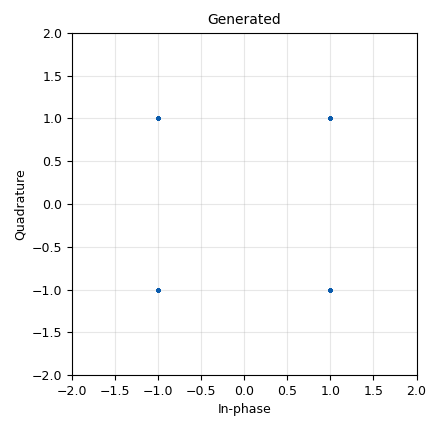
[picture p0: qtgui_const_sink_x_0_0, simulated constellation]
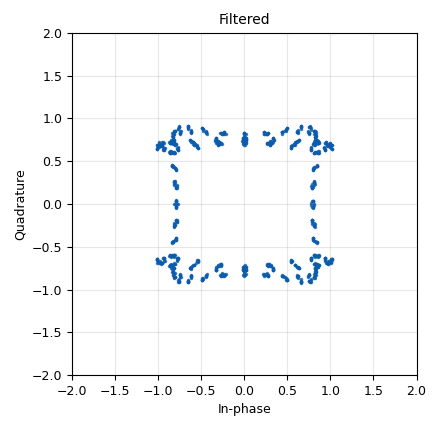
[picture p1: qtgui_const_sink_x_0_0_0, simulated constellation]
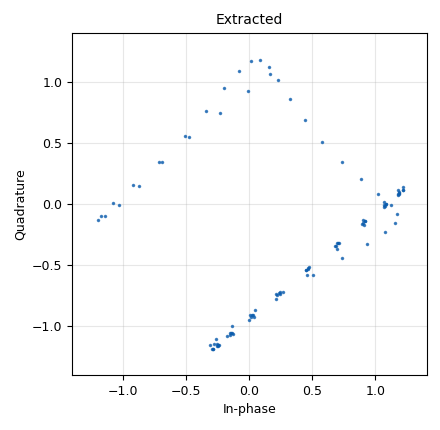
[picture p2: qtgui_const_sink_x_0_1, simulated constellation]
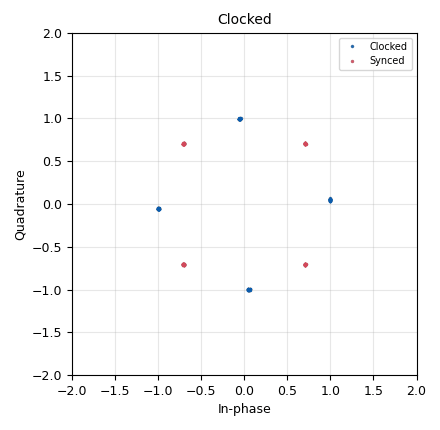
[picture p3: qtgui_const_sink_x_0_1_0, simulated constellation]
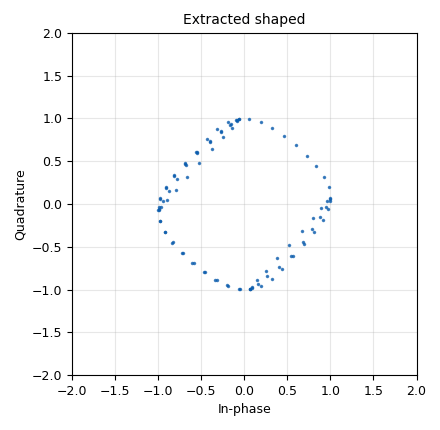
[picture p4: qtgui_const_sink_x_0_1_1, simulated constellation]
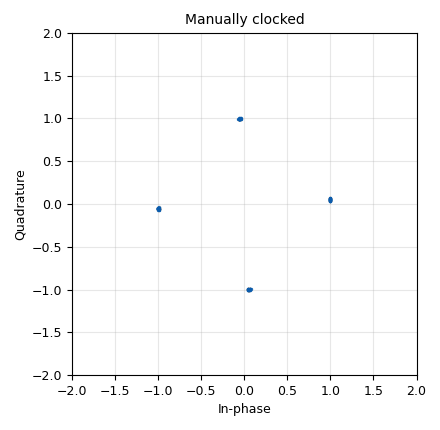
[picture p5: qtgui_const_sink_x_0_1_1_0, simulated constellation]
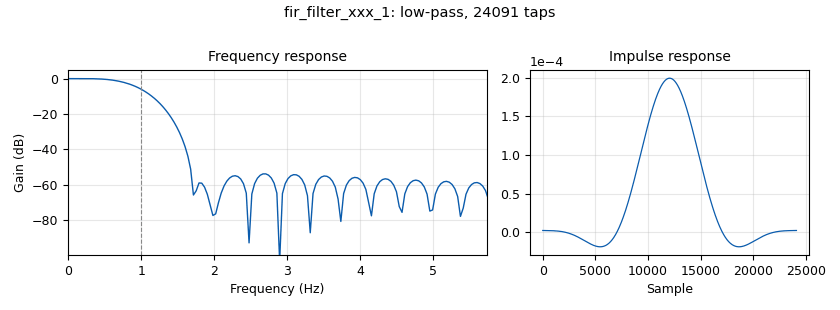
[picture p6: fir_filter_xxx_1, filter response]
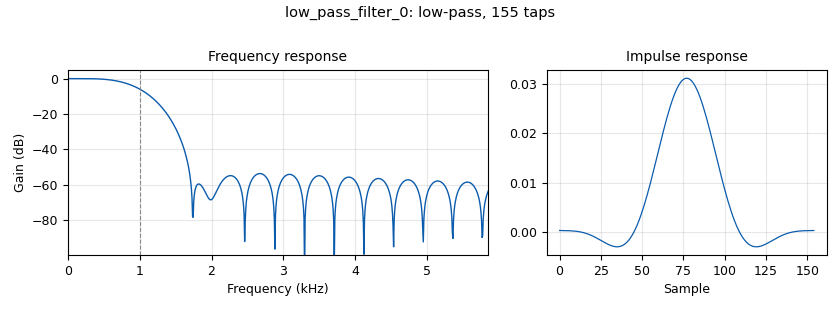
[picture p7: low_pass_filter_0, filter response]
options:
  parameters:
    author: Thomas
    generate_options: qt_gui
    id: ofdm_example
    output_language: python
    title: OFDM test
  states: {}

blocks:
- name: bucket
  id: variable
  parameters:
    value: '5'
  states: {}
- name: buckets
  id: variable
  parameters:
    value: '64'
  states: {}
- name: freq_ofs
  id: variable_qtgui_range
  parameters:
    gui_hint: 0,0
    start: '-500'
    step: '0.1'
    stop: '10000'
    value: '0'
  states: {}
- name: noise
  id: variable_qtgui_entry
  parameters:
    gui_hint: tabs@0
    type: real
    value: '0'
  states: {}
- name: other_mag
  id: variable_qtgui_range
  parameters:
    gui_hint: tabs@0
    start: '0'
    step: '0.01'
    stop: '1'
    value: '0'
  states: {}
- name: prode_freq_ofs
  id: variable_function_probe
  parameters:
    block_id: probe_freq_probe
    function_name: level
    poll_rate: '10'
    value: '0'
  states: {}
- name: rrc_beta
  id: variable_qtgui_range
  parameters:
    gui_hint: tabs@3
    start: '0.01'
    step: '0.01'
    stop: '1'
    value: '0.65'
  states: {}
- name: rrc_taps
  id: variable
  parameters:
    value: '131'
  states: {}
- name: samp_rate
  id: variable
  parameters:
    value: '1000'
  states: {}
- name: sps
  id: variable
  parameters:
    value: '10'
  states: {}
- name: sps_delay
  id: variable_qtgui_range
  parameters:
    gui_hint: tabs@2
    rangeType: int
    start: '0'
    step: '1'
    stop: sps
    value: '9'
  states: {}
- name: sym_power
  id: variable_qtgui_entry
  parameters:
    gui_hint: tabs@0
    type: real
    value: '1'
  states: {}
- name: ted_gain
  id: variable_qtgui_range
  parameters:
    gui_hint: tabs@3
    start: '0'
    step: '0.01'
    stop: '1'
    value: '1'
  states: {}
- name: winwin
  id: variable
  parameters:
    value: window.rectangular(buckets)
  states: {}
- name: winwin_0
  id: variable
  parameters:
    value: '[(1.0/buckets)**0.5]*buckets'
  states: {}
- name: winwin_blackmanharris
  id: variable
  parameters:
    value: window.blackmanharris(buckets)
  states: {}
- name: analog_pll_freqdet_cf_0
  id: analog_pll_freqdet_cf
  parameters:
    max_freq: '0.2'
    min_freq: '-0.2'
    w: 2*3.14/15000
  states: {}
- name: analog_pll_freqdet_cf_0_0
  id: analog_pll_freqdet_cf
  parameters:
    max_freq: '3'
    min_freq: '-3'
    w: 2*3.14/15000
  states: {state: disabled}
- name: analog_quadrature_demod_cf_0
  id: analog_quadrature_demod_cf
  parameters:
    gain: '1'
  states: {}
- name: analog_quadrature_demod_cf_1
  id: analog_quadrature_demod_cf
  parameters:
    gain: (samp_rate*buckets)/(2*math.pi)
  states: {}
- name: analog_random_source_x_0
  id: analog_random_source_x
  parameters:
    max: '2'
    min: '0'
    num_samps: '1000'
    repeat: 'True'
    type: byte
  states: {}
- name: analog_sig_source_x_0
  id: analog_sig_source_x
  parameters:
    amp: '1'
    freq: '-prode_freq_ofs'
    offset: '0'
    phase: '0'
    samp_rate: samp_rate*sps*buckets
    type: complex
    waveform: analog.GR_COS_WAVE
  states: {}
- name: blocks_complex_to_mag_0
  id: blocks_complex_to_mag
  parameters:
    vlen: '64'
  states: {state: disabled}
- name: blocks_complex_to_magphase_0
  id: blocks_complex_to_magphase
  parameters: {}
  states: {state: disabled}
- name: blocks_delay_0
  id: blocks_delay
  parameters:
    delay: sps_delay
    type: complex
  states: {}
- name: blocks_keep_one_in_n_0
  id: blocks_keep_one_in_n
  parameters:
    n: sps
    type: complex
  states: {}
- name: blocks_keep_one_in_n_1
  id: blocks_keep_one_in_n
  parameters:
    n: '100'
    type: complex
  states: {state: disabled}
- name: blocks_keep_one_in_n_2
  id: blocks_keep_one_in_n
  parameters:
    n: '100'
    type: float
  states: {}
- name: blocks_keep_one_in_n_2_1
  id: blocks_keep_one_in_n
  parameters:
    n: '100'
    type: float
  states: {}
- name: blocks_moving_average_xx_0
  id: blocks_moving_average_xx
  parameters:
    length: '1000'
    max_iter: '4000'
    scale: 1/1000*1/(2*math.pi)*samp_rate*sps
    type: float
  states: {}
- name: blocks_multiply_const_vxx_0
  id: blocks_multiply_const_vxx
  parameters:
    const: sym_power*0.7071067811865476
    type: complex
  states: {}
- name: blocks_multiply_const_vxx_1
  id: blocks_multiply_const_vxx
  parameters:
    const: buckets*[1.0/buckets]
    type: complex
    vlen: buckets
  states: {}
- name: blocks_multiply_const_vxx_2
  id: blocks_multiply_const_vxx
  parameters:
    const: 1/(2*math.pi)*samp_rate*sps
    type: float
  states: {}
- name: blocks_multiply_const_vxx_2_0
  id: blocks_multiply_const_vxx
  parameters:
    const: 1/(2*3.141592)*samp_rate
    type: float
  states: {state: disabled}
- name: blocks_multiply_xx_0
  id: blocks_multiply_xx
  parameters:
    type: float
  states: {state: disabled}
- name: blocks_multiply_xx_1
  id: blocks_multiply_xx
  parameters:
    type: complex
  states: {}
- name: blocks_null_sink_0
  id: blocks_null_sink
  parameters:
    type: float
  states: {state: disabled}
- name: blocks_stream_to_vector_0
  id: blocks_stream_to_vector
  parameters:
    num_items: buckets
    type: complex
  states: {}
- name: blocks_throttle2_0
  id: blocks_throttle2
  parameters:
    samples_per_second: samp_rate*10
    type: byte
  states: {}
- name: blocks_vector_to_stream_1
  id: blocks_vector_to_stream
  parameters:
    num_items: buckets
    type: complex
  states: {}
- name: channels_channel_model_0
  id: channels_channel_model
  parameters:
    epsilon: '1.0'
    freq_offset: float(freq_ofs)/(samp_rate*sps*buckets)
    noise_voltage: noise
    seed: '0'
    taps: '1.0'
  states: {}
- name: digital_chunks_to_symbols_xx_0
  id: digital_chunks_to_symbols_xx
  parameters:
    dimension: '2'
    in_type: byte
    out_type: complex
    symbol_table: '[1+1j,-1+1j,-1+-1j,1-1j]'
  states: {}
- name: digital_costas_loop_cc_0
  id: digital_costas_loop_cc
  parameters:
    comment: |-
      The bandwidth here is small because most of the tuning
      is already done by the pilot signal tune.

      Ideally we would have the main tuner signal "locked" so that
      the costas loop can reset its state.
    order: '4'
    w: 2*math.pi/200
  states: {}
- name: digital_symbol_sync_xx_0
  id: digital_symbol_sync_xx
  parameters:
    constellation: digital.constellation_qpsk().base()
    damping: '1.0'
    loop_bw: '0.06283'
    max_dev: '0.5'
    osps: '1'
    resamp_type: digital.IR_MMSE_8TAP
    sps: sps
    ted_gain: ted_gain
    ted_type: digital.TED_GARDNER
    type: cc
  states: {}
- name: digital_symbol_sync_xx_0_0
  id: digital_symbol_sync_xx
  parameters:
    damping: '1.0'
    loop_bw: '0.06283'
    max_dev: '0.5'
    osps: '1'
    resamp_type: digital.IR_MMSE_8TAP
    sps: sps
    ted_gain: '1.0'
    ted_type: digital.TED_ZERO_CROSSING
    type: cc
  states: {state: disabled}
- name: epy_block_0
  id: epy_block
  parameters:
    M: bucket
    N: buckets
    _source_code: |
      """
      Embedded Python Blocks:

      Each time this file is saved, GRC will instantiate the first class it finds
      to get ports and parameters of your block. The arguments to __init__  will
      be the parameters. All of them are required to have default values!
      """
      import numpy as np
      import random
      from gnuradio import gr


      class blk(gr.sync_block):
          """Place each complex input sample at index M of an N-element vector."""

          def __init__(self, N=64, M=0, mag = 0.5):
              if N <= 0:
                  raise ValueError("N must be positive")
              if not 0 <= M < N:
                  raise ValueError("M must satisfy 0 <= M < N")

              self.N = int(N)
              self.M = int(M)
              self.mag = mag

              gr.sync_block.__init__(
                  self,
                  name="Complex to sparse vector",
                  in_sig=[np.complex64],
                  out_sig=[(np.complex64, self.N)],
              )

          def work(self, input_items, output_items):
              src = input_items[0]
              dst = output_items[0]

              n = len(src)
              center = self.N // 2
              dst.fill(0)
              dst[:, center] = 1.0 + 0.0j
              for i in range(self.N):
                  if abs(i - center) >= 5:
                      #dst[:, i] = self.mag*(random.random() + random.random() * 1.0j)
                      dst[:, i] = self.mag * ( np.random.random(n) + 1.0j * np.random.random(n))
              dst[:, self.M] = src

              return n
    mag: other_mag
  states: {}
- name: epy_block_0_0
  id: epy_block
  parameters:
    _source_code: |
      """
      Embedded Python Blocks:

      Each time this file is saved, GRC will instantiate the first class it finds
      to get ports and parameters of your block. The arguments to __init__  will
      be the parameters. All of them are required to have default values!
      """

      import numpy as np
      from gnuradio import gr


      class blk(gr.sync_block):
          def __init__(self, fft_len=64, samp_rate=1e6, ref_bin=512):
              gr.sync_block.__init__(
                  self,
                  name="Jacobsen CFO Estimator",
                  in_sig=[(np.complex64, fft_len)],
                  out_sig=[np.float32],
              )

              self.fft_len = fft_len
              self.samp_rate = samp_rate
              self.ref_bin = ref_bin

          def work(self, input_items, output_items):
              inp = input_items[0]
              out = output_items[0]

              k = self.ref_bin
              bin_width = self.samp_rate / self.fft_len

              for i, fft in enumerate(inp):
                  xm1 = fft[k - 1]
                  x0  = fft[k]
                  xp1 = fft[k + 1]

                  denom = 2.0 * x0 - xm1 - xp1

                  if abs(denom) > 1e-20:
                      delta = np.real((xm1 - xp1) / denom)
                      out[i] = delta * bin_width
                  else:
                      out[i] = 0.0

              return len(out)
    fft_len: buckets
    ref_bin: buckets//2
    samp_rate: samp_rate*sps*buckets
  states: {}
- name: epy_block_1
  id: epy_block
  parameters:
    M: bucket
    N: buckets
    _source_code: |
      """
      Embedded Python Blocks:

      Each time this file is saved, GRC will instantiate the first class it finds
      to get ports and parameters of your block. The arguments to __init__  will
      be the parameters. All of them are required to have default values!
      """
      import numpy as np
      from gnuradio import gr


      class blk(gr.sync_block):
          """
          Input:  complex vector of length N
          Output: complex scalar, equal to input[M]
          """

          def __init__(self, N=64, M=0):
              gr.sync_block.__init__(
                  self,
                  name="Vector Bucket Select",
                  in_sig=[(np.complex64, N)],
                  out_sig=[np.complex64],
              )

              self.N = N
              self.M = M

              if not 0 <= M < N:
                  raise ValueError(f"M must be in [0, {N})")

          def work(self, input_items, output_items):
              inp = input_items[0]
              out = output_items[0]

              out[:] = inp[:, self.M]

              return len(out)
  states: {}
- name: epy_block_1_0
  id: epy_block
  parameters:
    M: buckets//2
    N: buckets
    _source_code: |
      """
      Embedded Python Blocks:

      Each time this file is saved, GRC will instantiate the first class it finds
      to get ports and parameters of your block. The arguments to __init__  will
      be the parameters. All of them are required to have default values!
      """
      import numpy as np
      from gnuradio import gr


      class blk(gr.sync_block):
          """
          Input:  complex vector of length N
          Output: complex scalar, equal to input[M]
          """

          def __init__(self, N=64, M=0):
              gr.sync_block.__init__(
                  self,
                  name="Vector Bucket Select",
                  in_sig=[(np.complex64, N)],
                  out_sig=[np.complex64],
              )

              self.N = N
              self.M = M

              if not 0 <= M < N:
                  raise ValueError(f"M must be in [0, {N})")

          def work(self, input_items, output_items):
              inp = input_items[0]
              out = output_items[0]

              out[:] = inp[:, self.M]

              return len(out)
  states: {}
- name: fft_vxx_0
  id: fft_vxx
  parameters:
    fft_size: buckets
    forward: 'False'
    shift: 'True'
    type: complex
    window: winwin
  states: {}
- name: fft_vxx_1
  id: fft_vxx
  parameters:
    fft_size: buckets
    forward: 'True'
    shift: 'True'
    type: complex
    window: winwin
  states: {}
- name: fir_filter_xxx_0
  id: fir_filter_xxx
  parameters:
    decim: '1'
    taps: firdes.low_pass(1,samp_rate,10,10)
    type: fff
  states: {state: disabled}
- name: fir_filter_xxx_1
  id: fir_filter_xxx
  parameters:
    decim: '1'
    taps: firdes.low_pass(1,samp_rate*sps,1,1)
    type: fff
  states: {}
- name: hz_error
  id: qtgui_number_sink
  parameters:
    graph_type: qtgui.NUM_GRAPH_HORIZ
    gui_hint: tabs@0
    label1: PLL
    label2: Quad demod
    name: '"Frequency error (Hz)"'
    nconnections: '2'
    type: float
  states: {}
- name: iir_filter_xxx_0
  id: iir_filter_xxx
  parameters:
    fbtaps: '[1.0, 0.999]'
    fftaps: '[1e-3]'
    type: ffd
  states: {state: disabled}
- name: low_pass_filter_0
  id: low_pass_filter
  parameters:
    cutoff_freq: '1000'
    decim: '1'
    gain: '1'
    samp_rate: samp_rate*buckets
    type: fir_filter_ccf
    width: '1000'
    win: window.WIN_HAMMING
  states: {}
- name: low_pass_filter_0_0
  id: low_pass_filter
  parameters:
    cutoff_freq: '1000'
    decim: sps
    gain: '1'
    samp_rate: samp_rate*sps*buckets
    type: fir_filter_ccf
    width: '1000'
    win: window.WIN_HAMMING
  states: {}
- name: probe_freq_probe
  id: blocks_probe_signal_x
  parameters:
    type: float
  states: {}
- name: qtgui_const_sink_x_0
  id: qtgui_const_sink_x
  parameters:
    name: '"Air"'
    size: '1024'
    type: complex
  states: {state: disabled}
- name: qtgui_const_sink_x_0_0
  id: qtgui_const_sink_x
  parameters:
    gui_hint: tabs@0
    name: '"Generated"'
    size: '1024'
    style1: '1'
    type: complex
  states: {}
- name: qtgui_const_sink_x_0_0_0
  id: qtgui_const_sink_x
  parameters:
    gui_hint: tabs@0
    name: '"Filtered"'
    size: '1024'
    style1: '1'
    type: complex
  states: {}
- name: qtgui_const_sink_x_0_1
  id: qtgui_const_sink_x
  parameters:
    autoscale: 'True'
    name: '"Extracted"'
    size: '100'
    type: complex
  states: {}
- name: qtgui_const_sink_x_0_1_0
  id: qtgui_const_sink_x
  parameters:
    gui_hint: tabs@3
    label1: Clocked
    label2: Synced
    name: '"Clocked"'
    nconnections: '2'
    size: '100'
    style1: '1'
    style2: '2'
    type: complex
  states: {}
- name: qtgui_const_sink_x_0_1_1
  id: qtgui_const_sink_x
  parameters:
    name: '"Extracted shaped"'
    size: '100'
    type: complex
  states: {}
- name: qtgui_const_sink_x_0_1_1_0
  id: qtgui_const_sink_x
  parameters:
    gui_hint: tabs@2
    name: '"Manually clocked"'
    size: '100'
    type: complex
  states: {}
- name: qtgui_const_sink_x_1
  id: qtgui_const_sink_x
  parameters:
    gui_hint: tabs@1
    name: '"Air"'
    size: '1024'
    type: complex
  states: {state: disabled}
- name: qtgui_eye_sink_x_0
  id: qtgui_eye_sink_x
  parameters:
    ctrlpanel: 'True'
    samp_per_symbol: sps
    size: '1024'
    srate: samp_rate*sps
    tr_mode: qtgui.TRIG_MODE_NORM
    type: complex
  states: {}
- name: qtgui_freq_sink_x_1
  id: qtgui_freq_sink_x
  parameters:
    bw: samp_rate*sps*buckets
    fc: '0'
    fftsize: '1024'
    gui_hint: tabs@1
    name: '"Air"'
    type: complex
  states: {}
- name: qtgui_number_sink_0
  id: qtgui_number_sink
  parameters:
    graph_type: qtgui.NUM_GRAPH_HORIZ
    name: '"Calculated offset"'
    type: float
  states: {}
- name: qtgui_number_sink_1
  id: qtgui_number_sink
  parameters:
    graph_type: qtgui.NUM_GRAPH_HORIZ
    gui_hint: tabs@0
    label1: Lolz
    type: float
  states: {}
- name: qtgui_sink_x_0
  id: qtgui_sink_x
  parameters:
    bw: samp_rate
    fc: '0'
    fftsize: '1024'
    gui_hint: tabs@1
    name: '"Air"'
    type: complex
  states: {state: disabled}
- name: qtgui_time_sink_x_0
  id: qtgui_time_sink_x
  parameters:
    ctrlpanel: 'True'
    size: '1024'
    srate: samp_rate*sps
    type: float
  states: {}
- name: qtgui_time_sink_x_1
  id: qtgui_time_sink_x
  parameters:
    ctrlpanel: 'True'
    label1: Magnitude
    label2: Phase
    name: '"Pilot"'
    nconnections: '3'
    size: '100'
    srate: samp_rate
    type: float
    ymax: '4'
    ymin: '-4'
  states: {state: disabled}
- name: qtgui_time_sink_x_2
  id: qtgui_time_sink_x
  parameters:
    gui_hint: tabs@0
    name: '"Lolz"'
    size: '1024'
    srate: samp_rate
    type: float
  states: {state: disabled}
- name: qtgui_vector_sink_f_0
  id: qtgui_vector_sink_f
  parameters:
    name: '"Post FFT"'
    vlen: buckets
    x_start: '0'
    x_step: '1.0'
    ymin: '0'
  states: {state: disabled}
- name: qtgui_waterfall_sink_x_0
  id: qtgui_waterfall_sink_x
  parameters:
    bw: samp_rate*sps*buckets
    fc: '0'
    fftsize: '1024'
    gui_hint: tabs@1
    name: '"Air"'
    type: complex
    wintype: window.WIN_RECTANGULAR
  states: {}
- name: qtgui_waterfall_sink_x_1
  id: qtgui_waterfall_sink_x
  parameters:
    bw: samp_rate*buckets
    fc: '0'
    fftsize: '1024'
    gui_hint: tabs@0
    type: complex
  states: {}
- name: root_raised_cosine_filter_0
  id: root_raised_cosine_filter
  parameters:
    alpha: rrc_beta
    gain: sps
    interp: sps
    ntaps: rrc_taps
    samp_rate: samp_rate*sps
    sym_rate: samp_rate
    type: interp_fir_filter_ccf
  states: {}
- name: root_raised_cosine_filter_1
  id: root_raised_cosine_filter
  parameters:
    alpha: rrc_beta
    decim: '1'
    gain: '1'
    ntaps: rrc_taps
    samp_rate: samp_rate*sps
    sym_rate: samp_rate
    type: fir_filter_ccf
  states: {}
- name: single_pole_iir_filter_xx_0
  id: single_pole_iir_filter_xx
  parameters:
    alpha: '0.0046'
    type: float
  states: {state: disabled}
- name: single_pole_iir_filter_xx_1
  id: single_pole_iir_filter_xx
  parameters:
    alpha: '0.05'
    type: float
  states: {}
- name: single_pole_iir_filter_xx_2
  id: single_pole_iir_filter_xx
  parameters:
    alpha: '0.01'
    type: float
  states: {}
- name: tabs
  id: qtgui_tab_widget
  parameters:
    label0: Generator
    label1: Air
    label2: Manually clocked
    label3: Clocked
    num_tabs: '4'
  states: {}

connections:
- [analog_pll_freqdet_cf_0, '0', blocks_multiply_const_vxx_2, '0']
- [analog_pll_freqdet_cf_0_0, '0', blocks_multiply_const_vxx_2_0, '0']
- [analog_quadrature_demod_cf_0, '0', single_pole_iir_filter_xx_1, '0']
- [analog_quadrature_demod_cf_1, '0', fir_filter_xxx_0, '0']
- [analog_quadrature_demod_cf_1, '0', single_pole_iir_filter_xx_2, '0']
- [analog_random_source_x_0, '0', blocks_throttle2_0, '0']
- [analog_sig_source_x_0, '0', blocks_multiply_xx_1, '0']
- [blocks_complex_to_mag_0, '0', qtgui_vector_sink_f_0, '0']
- [blocks_complex_to_magphase_0, '0', blocks_multiply_xx_0, '0']
- [blocks_complex_to_magphase_0, '0', qtgui_time_sink_x_1, '0']
- [blocks_complex_to_magphase_0, '1', blocks_multiply_xx_0, '1']
- [blocks_complex_to_magphase_0, '1', blocks_null_sink_0, '0']
- [blocks_complex_to_magphase_0, '1', qtgui_time_sink_x_1, '1']
- [blocks_delay_0, '0', blocks_keep_one_in_n_0, '0']
- [blocks_keep_one_in_n_0, '0', qtgui_const_sink_x_0_1_1_0, '0']
- [blocks_keep_one_in_n_1, '0', blocks_complex_to_magphase_0, '0']
- [blocks_keep_one_in_n_2, '0', hz_error, '1']
- [blocks_keep_one_in_n_2_1, '0', hz_error, '0']
- [blocks_moving_average_xx_0, '0', blocks_keep_one_in_n_2, '0']
- [blocks_multiply_const_vxx_0, '0', root_raised_cosine_filter_0, '0']
- [blocks_multiply_const_vxx_1, '0', blocks_vector_to_stream_1, '0']
- [blocks_multiply_const_vxx_2, '0', blocks_keep_one_in_n_2_1, '0']
- [blocks_multiply_const_vxx_2_0, '0', probe_freq_probe, '0']
- [blocks_multiply_xx_0, '0', qtgui_time_sink_x_1, '2']
- [blocks_multiply_xx_1, '0', blocks_stream_to_vector_0, '0']
- [blocks_stream_to_vector_0, '0', fft_vxx_1, '0']
- [blocks_throttle2_0, '0', digital_chunks_to_symbols_xx_0, '0']
- [blocks_vector_to_stream_1, '0', channels_channel_model_0, '0']
- [blocks_vector_to_stream_1, '0', qtgui_const_sink_x_1, '0']
- [blocks_vector_to_stream_1, '0', qtgui_freq_sink_x_1, '0']
- [blocks_vector_to_stream_1, '0', qtgui_sink_x_0, '0']
- [channels_channel_model_0, '0', blocks_multiply_xx_1, '1']
- [channels_channel_model_0, '0', low_pass_filter_0_0, '0']
- [channels_channel_model_0, '0', qtgui_waterfall_sink_x_0, '0']
- [digital_chunks_to_symbols_xx_0, '0', blocks_multiply_const_vxx_0, '0']
- [digital_chunks_to_symbols_xx_0, '0', qtgui_const_sink_x_0_0, '0']
- [digital_costas_loop_cc_0, '0', qtgui_const_sink_x_0_1_0, '1']
- [digital_symbol_sync_xx_0, '0', digital_costas_loop_cc_0, '0']
- [digital_symbol_sync_xx_0, '0', qtgui_const_sink_x_0_1_0, '0']
- [digital_symbol_sync_xx_0_0, '0', qtgui_const_sink_x_0_1_0, '0']
- [epy_block_0, '0', fft_vxx_0, '0']
- [epy_block_0_0, '0', fir_filter_xxx_1, '0']
- [epy_block_0_0, '0', iir_filter_xxx_0, '0']
- [epy_block_0_0, '0', single_pole_iir_filter_xx_0, '0']
- [epy_block_1, '0', qtgui_const_sink_x_0_1, '0']
- [epy_block_1, '0', root_raised_cosine_filter_1, '0']
- [epy_block_1_0, '0', analog_pll_freqdet_cf_0, '0']
- [epy_block_1_0, '0', analog_quadrature_demod_cf_0, '0']
- [epy_block_1_0, '0', blocks_keep_one_in_n_1, '0']
- [fft_vxx_0, '0', blocks_multiply_const_vxx_1, '0']
- [fft_vxx_1, '0', blocks_complex_to_mag_0, '0']
- [fft_vxx_1, '0', epy_block_0_0, '0']
- [fft_vxx_1, '0', epy_block_1, '0']
- [fft_vxx_1, '0', epy_block_1_0, '0']
- [fir_filter_xxx_0, '0', probe_freq_probe, '0']
- [fir_filter_xxx_0, '0', qtgui_number_sink_1, '0']
- [fir_filter_xxx_0, '0', qtgui_time_sink_x_2, '0']
- [fir_filter_xxx_1, '0', qtgui_number_sink_0, '0']
- [fir_filter_xxx_1, '0', qtgui_time_sink_x_0, '0']
- [iir_filter_xxx_0, '0', qtgui_number_sink_0, '0']
- [iir_filter_xxx_0, '0', qtgui_time_sink_x_0, '0']
- [low_pass_filter_0, '0', analog_pll_freqdet_cf_0_0, '0']
- [low_pass_filter_0, '0', analog_quadrature_demod_cf_1, '0']
- [low_pass_filter_0, '0', qtgui_waterfall_sink_x_1, '0']
- [low_pass_filter_0_0, '0', low_pass_filter_0, '0']
- [root_raised_cosine_filter_0, '0', epy_block_0, '0']
- [root_raised_cosine_filter_0, '0', qtgui_const_sink_x_0_0_0, '0']
- [root_raised_cosine_filter_1, '0', blocks_delay_0, '0']
- [root_raised_cosine_filter_1, '0', digital_symbol_sync_xx_0, '0']
- [root_raised_cosine_filter_1, '0', digital_symbol_sync_xx_0_0, '0']
- [root_raised_cosine_filter_1, '0', qtgui_const_sink_x_0_1_1, '0']
- [root_raised_cosine_filter_1, '0', qtgui_eye_sink_x_0, '0']
- [single_pole_iir_filter_xx_0, '0', qtgui_number_sink_0, '0']
- [single_pole_iir_filter_xx_0, '0', qtgui_time_sink_x_0, '0']
- [single_pole_iir_filter_xx_1, '0', blocks_moving_average_xx_0, '0']
- [single_pole_iir_filter_xx_2, '0', probe_freq_probe, '0']
- [single_pole_iir_filter_xx_2, '0', qtgui_number_sink_1, '0']
- [single_pole_iir_filter_xx_2, '0', qtgui_time_sink_x_2, '0']

metadata:
  file_format: 1
  grc_version: 3.10.12.0
